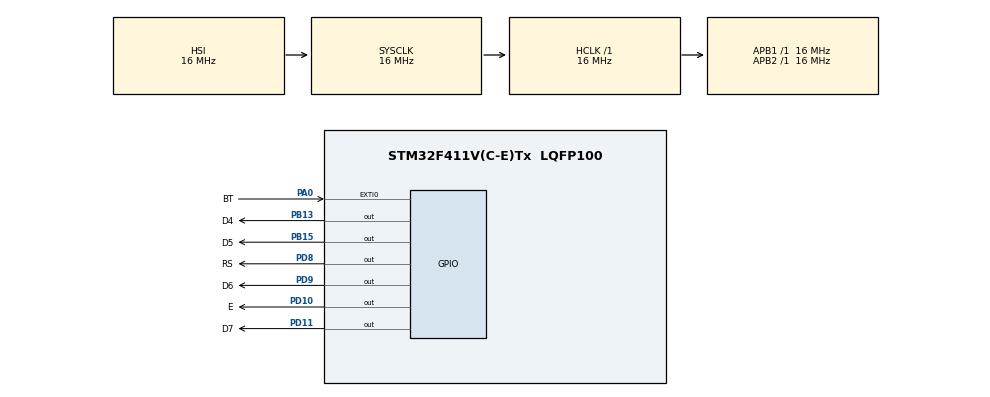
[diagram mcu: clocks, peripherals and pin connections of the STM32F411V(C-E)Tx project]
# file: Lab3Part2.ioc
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Mcu.Family=STM32F4
Mcu.Name=STM32F411V(C-E)Tx
Mcu.Package=LQFP100
NVIC.EXTI0_IRQn=true\:0\:0\:false\:false\:true\:true\:true\:true
NVIC.PriorityGroup=NVIC_PRIORITYGROUP_4
PA0-WKUP.GPIO_Label=BT
PA0-WKUP.Signal=GPXTI0
PB13.GPIO_Label=D4
PB13.Signal=GPIO_Output
PB15.GPIO_Label=D5
PB15.Signal=GPIO_Output
PD10.GPIO_Label=E
PD10.Signal=GPIO_Output
PD11.GPIO_Label=D7
PD11.Signal=GPIO_Output
PD8.GPIO_Label=RS
PD8.Signal=GPIO_Output
PD9.GPIO_Label=D6
PD9.Signal=GPIO_Output
ProjectManager.HeapSize=0x200
ProjectManager.StackSize=0x400
ProjectManager.TargetToolchain=STM32CubeIDE
RCC.AHBFreq_Value=16000000
RCC.APB1Freq_Value=16000000
RCC.APB2Freq_Value=16000000
RCC.CortexFreq_Value=16000000
RCC.HSE_VALUE=25000000
RCC.HSI_VALUE=16000000
RCC.LSE_VALUE=32768
RCC.SYSCLKFreq_VALUE=16000000
RCC.VCOOutputFreq_Value=192000000
board=custom

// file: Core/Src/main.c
/* USER CODE BEGIN Header */
/**
  ******************************************************************************
  * @file           : main.c
  * @brief          : Main program body
  ******************************************************************************
  * @attention
  *
  * Copyright (c) 2026 STMicroelectronics.
  * All rights reserved.
  *
  * This software is licensed under terms that can be found in the LICENSE file
  * in the root directory of this software component.
  * If no LICENSE file comes with this software, it is provided AS-IS.
  *
  ******************************************************************************
  */
/* USER CODE END Header */

#include "main.h"

/* USER CODE BEGIN Includes */
#include <stdio.h>
/* USER CODE END Includes */

/* USER CODE BEGIN PV */

volatile uint8_t timerStarted = 0;
volatile uint8_t timerDisplayPending = 0;
volatile uint32_t lastTimerTick = 0;

uint32_t timerValue = 0;
char lcdText[17];

/* USER CODE END PV */

void SystemClock_Config(void);
static void MX_GPIO_Init(void);

/* USER CODE BEGIN 0 */

void LCD_SendNibble(uint8_t nibble, uint8_t rs)
{
    HAL_GPIO_WritePin(
        RS_GPIO_Port,
        RS_Pin,
        rs ? GPIO_PIN_SET : GPIO_PIN_RESET
    );

    HAL_GPIO_WritePin(
        D4_GPIO_Port,
        D4_Pin,
        (nibble & 0x01) ? GPIO_PIN_SET : GPIO_PIN_RESET
    );

    HAL_GPIO_WritePin(
        D5_GPIO_Port,
        D5_Pin,
        (nibble & 0x02) ? GPIO_PIN_SET : GPIO_PIN_RESET
    );

    HAL_GPIO_WritePin(
        D6_GPIO_Port,
        D6_Pin,
        (nibble & 0x04) ? GPIO_PIN_SET : GPIO_PIN_RESET
    );

    HAL_GPIO_WritePin(
        D7_GPIO_Port,
        D7_Pin,
        (nibble & 0x08) ? GPIO_PIN_SET : GPIO_PIN_RESET
    );

    HAL_GPIO_WritePin(E_GPIO_Port, E_Pin, GPIO_PIN_SET);
    HAL_Delay(1);

    HAL_GPIO_WritePin(E_GPIO_Port, E_Pin, GPIO_PIN_RESET);
    HAL_Delay(1);
}

void LCD_SendByte(uint8_t byte, uint8_t rs)
{
    LCD_SendNibble(byte >> 4, rs);
    LCD_SendNibble(byte & 0x0F, rs);
}

void LCD_Init(void)
{
    HAL_Delay(50);

    LCD_SendNibble(0x03, 0);
    HAL_Delay(5);

    LCD_SendNibble(0x03, 0);
    HAL_Delay(1);

    LCD_SendNibble(0x03, 0);
    HAL_Delay(1);

    LCD_SendNibble(0x02, 0);
    HAL_Delay(1);

    LCD_SendByte(0x28, 0);
    HAL_Delay(1);

    LCD_SendByte(0x08, 0);
    HAL_Delay(1);

    LCD_SendByte(0x01, 0);
    HAL_Delay(2);

    LCD_SendByte(0x06, 0);
    HAL_Delay(1);

    LCD_SendByte(0x0C, 0);
    HAL_Delay(1);
}

void LCD_Clear(void)
{
    LCD_SendByte(0x01, 0);
    HAL_Delay(2);
}

void LCD_SetCursor(uint8_t row, uint8_t column)
{
    uint8_t address;

    if (row == 0)
    {
        address = column;
    }
    else
    {
        address = 0x40 + column;
    }

    LCD_SendByte(0x80 | address, 0);
}

void LCD_DisplayString(char *str)
{
    while (*str)
    {
        LCD_SendByte((uint8_t)(*str), 1);
        str++;
    }
}

/* USER CODE END 0 */

int main(void)
{

  /* MCU Configuration--------------------------------------------------------*/

  /* Reset of all peripherals, Initializes the Flash interface and the Systick. */
  HAL_Init();

  /* Configure the system clock */
  SystemClock_Config();

  /* Initialize all configured peripherals */
  MX_GPIO_Init();

  /* USER CODE BEGIN 2 */

  LCD_Init();
  LCD_Clear();

  LCD_SetCursor(0, 0);
  LCD_DisplayString("Hello !!!");

  LCD_SetCursor(1, 0);
  LCD_DisplayString("Press Button");

  /* USER CODE END 2 */

  /* Infinite loop */
  while (1)
  {

    /* USER CODE BEGIN 3 */

    if (timerStarted)
    {
        if (timerDisplayPending)
        {
            timerDisplayPending = 0;

            LCD_Clear();
            LCD_SetCursor(0, 0);
            LCD_DisplayString("Timer: 0");
        }

        if ((HAL_GetTick() - lastTimerTick) >= 1000)
        {
            lastTimerTick += 1000;

            timerValue++;

            if (timerValue > 9999)
            {
                timerValue = 0;
            }

            snprintf(
                lcdText,
                sizeof(lcdText),
                "Timer: %lu",
                (unsigned long)timerValue
            );

            LCD_Clear();
            LCD_SetCursor(0, 0);
            LCD_DisplayString(lcdText);
        }
    }

  }
  /* USER CODE END 3 */
}

void SystemClock_Config(void)
{
  RCC_OscInitTypeDef RCC_OscInitStruct = {0};
  RCC_ClkInitTypeDef RCC_ClkInitStruct = {0};

  /** Configure the main internal regulator output voltage
  */
  __HAL_RCC_PWR_CLK_ENABLE();

  __HAL_PWR_VOLTAGESCALING_CONFIG(PWR_REGULATOR_VOLTAGE_SCALE1);

  /** Initializes the RCC Oscillators according to the specified parameters
  * in the RCC_OscInitTypeDef structure.
  */
  RCC_OscInitStruct.OscillatorType = RCC_OSCILLATORTYPE_HSI;
  RCC_OscInitStruct.HSIState = RCC_HSI_ON;
  RCC_OscInitStruct.HSICalibrationValue = RCC_HSICALIBRATION_DEFAULT;
  RCC_OscInitStruct.PLL.PLLState = RCC_PLL_NONE;

  if (HAL_RCC_OscConfig(&RCC_OscInitStruct) != HAL_OK)
  {
    Error_Handler();
  }

  /** Initializes the CPU, AHB and APB buses clocks
  */
  RCC_ClkInitStruct.ClockType =
      RCC_CLOCKTYPE_HCLK |
      RCC_CLOCKTYPE_SYSCLK |
      RCC_CLOCKTYPE_PCLK1 |
      RCC_CLOCKTYPE_PCLK2;

  RCC_ClkInitStruct.SYSCLKSource = RCC_SYSCLKSOURCE_HSI;
  RCC_ClkInitStruct.AHBCLKDivider = RCC_SYSCLK_DIV1;
  RCC_ClkInitStruct.APB1CLKDivider = RCC_HCLK_DIV1;
  RCC_ClkInitStruct.APB2CLKDivider = RCC_HCLK_DIV1;

  if (HAL_RCC_ClockConfig(&RCC_ClkInitStruct, FLASH_LATENCY_0) != HAL_OK)
  {
    Error_Handler();
  }
}

static void MX_GPIO_Init(void)
{
  GPIO_InitTypeDef GPIO_InitStruct = {0};

  /* GPIO Ports Clock Enable */
  __HAL_RCC_GPIOA_CLK_ENABLE();
  __HAL_RCC_GPIOB_CLK_ENABLE();
  __HAL_RCC_GPIOD_CLK_ENABLE();

  /*Configure GPIO pin Output Level */
  HAL_GPIO_WritePin(
      GPIOB,
      D4_Pin | D5_Pin,
      GPIO_PIN_RESET
  );

  /*Configure GPIO pin Output Level */
  HAL_GPIO_WritePin(
      GPIOD,
      RS_Pin | D6_Pin | E_Pin | D7_Pin,
      GPIO_PIN_RESET
  );

  /*Configure GPIO pin : BT_Pin */
  GPIO_InitStruct.Pin = BT_Pin;
  GPIO_InitStruct.Mode = GPIO_MODE_IT_RISING;
  GPIO_InitStruct.Pull = GPIO_NOPULL;
  HAL_GPIO_Init(BT_GPIO_Port, &GPIO_InitStruct);

  /*Configure GPIO pins : D4_Pin D5_Pin */
  GPIO_InitStruct.Pin = D4_Pin | D5_Pin;
  GPIO_InitStruct.Mode = GPIO_MODE_OUTPUT_PP;
  GPIO_InitStruct.Pull = GPIO_NOPULL;
  GPIO_InitStruct.Speed = GPIO_SPEED_FREQ_LOW;
  HAL_GPIO_Init(GPIOB, &GPIO_InitStruct);

  /*Configure GPIO pins : RS_Pin D6_Pin E_Pin D7_Pin */
  GPIO_InitStruct.Pin =
      RS_Pin |
      D6_Pin |
      E_Pin |
      D7_Pin;

  GPIO_InitStruct.Mode = GPIO_MODE_OUTPUT_PP;
  GPIO_InitStruct.Pull = GPIO_NOPULL;
  GPIO_InitStruct.Speed = GPIO_SPEED_FREQ_LOW;
  HAL_GPIO_Init(GPIOD, &GPIO_InitStruct);

  /* EXTI interrupt init*/
  HAL_NVIC_SetPriority(EXTI0_IRQn, 0, 0);
  HAL_NVIC_EnableIRQ(EXTI0_IRQn);

}

/* USER CODE BEGIN 4 */

void HAL_GPIO_EXTI_Callback(uint16_t GPIO_Pin)
{
    static uint32_t lastButtonPress = 0;

    if (GPIO_Pin == BT_Pin)
    {
        if ((HAL_GetTick() - lastButtonPress) > 200)
        {
            timerStarted = 1;
            timerValue = 0;
            lastTimerTick = HAL_GetTick();
            timerDisplayPending = 1;

            lastButtonPress = HAL_GetTick();
        }
    }
}

/* USER CODE END 4 */

void Error_Handler(void)
{
  __disable_irq();
  while (1)
  {
  }
}
